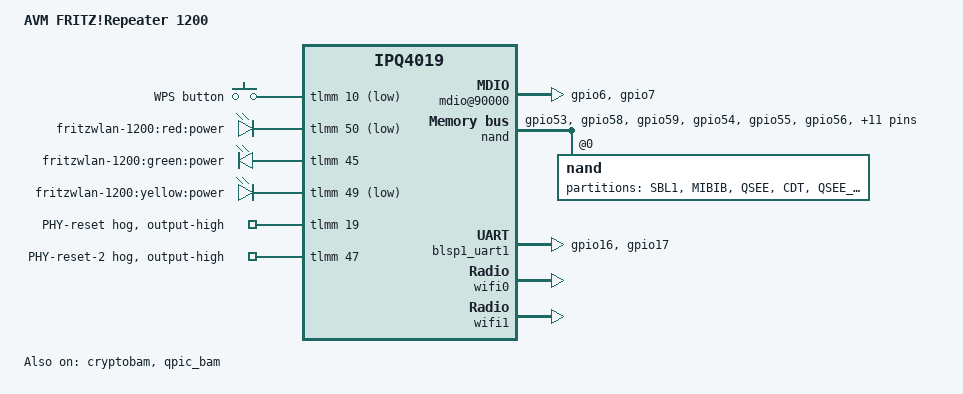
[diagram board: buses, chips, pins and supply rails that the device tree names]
// SPDX-License-Identifier: GPL-2.0-or-later OR MIT

#include "qcom-ipq4019.dtsi"
#include <dt-bindings/gpio/gpio.h>
#include <dt-bindings/input/input.h>
#include <dt-bindings/soc/qcom,tcsr.h>

/ {
	model = "AVM FRITZ!Repeater 1200";
	compatible = "avm,fritzrepeater-1200";

	aliases {
		led-boot = &power_green;
		led-failsafe = &power_red;
		led-running = &power_green;
		led-upgrade = &power_red;
		label-mac-device = &wifi0;
	};

	soc {
		rng@22000 {
			status = "okay";
		};

		mdio@90000 {
			status = "okay";
			pinctrl-0 = <&mdio_pins>;
			pinctrl-names = "default";
		};

		tcsr@1949000 {
			compatible = "qcom,tcsr";
			reg = <0x1949000 0x100>;
			qcom,wifi_glb_cfg = <TCSR_WIFI_GLB_CFG>;
		};

		ess_tcsr@1953000 {
			compatible = "qcom,tcsr";
			reg = <0x1953000 0x1000>;
			qcom,ess-interface-select = <TCSR_ESS_PSGMII_RGMII5>;
		};

		tcsr@1957000 {
			compatible = "qcom,tcsr";
			reg = <0x1957000 0x100>;
			qcom,wifi_noc_memtype_m0_m2 = <TCSR_WIFI_NOC_MEMTYPE_M0_M2>;
		};

		crypto@8e3a000 {
			status = "okay";
		};

		watchdog@b017000 {
			status = "okay";
		};

		ess-switch@c000000 {
			switch_mac_mode = <0x3>; /* mac mode for RGMII RMII */
			switch_lan_bmp = <0x0>; /* lan port bitmap */
			switch_wan_bmp = <0x10>; /* wan port bitmap */
		};

		edma@c080000 {
			status = "okay";
			phy-mode = "rgmii-rxid";
			qcom,num_gmac = <1>;
			qcom,single-phy;
		};
	};

	key {
		compatible = "gpio-keys";

		wps {
			label = "WPS button";
			gpios = <&tlmm 10 GPIO_ACTIVE_LOW>;
			linux,code = <KEY_WPS_BUTTON>;
		};
	};

	leds {
		compatible = "gpio-leds";

		power_red: power_red {
			label = "fritzwlan-1200:red:power";
			gpios = <&tlmm 50 GPIO_ACTIVE_LOW>;
		};

		power_green: power_green {
			label = "fritzwlan-1200:green:power";
			gpios = <&tlmm 45 GPIO_ACTIVE_HIGH>;
		};

		power_yellow {
			label = "fritzwlan-1200:yellow:power";
			gpios = <&tlmm 49 GPIO_ACTIVE_LOW>;
		};
	};
};

&tlmm {
	serial_0_pins: serial_pinmux {
		mux {
			pins = "gpio16", "gpio17";
			function = "blsp_uart0";
			bias-disable;
		};
	};

	nand_pins: nand_pins {
		pullups {
			pins = "gpio53", "gpio58", "gpio59";
			function = "qpic";
			bias-pull-up;
		};

		pulldowns {
			pins = "gpio54", "gpio55", "gpio56",
				"gpio57", "gpio60", "gpio61",
				"gpio62", "gpio63", "gpio64",
				"gpio65", "gpio66", "gpio67",
				"gpio68", "gpio69";
			function = "qpic";
			bias-pull-down;
		};
	};

	mdio_pins: mdio_pinmux {
		mux_1 {
			pins = "gpio6";
			function = "mdio";
			bias-pull-up;
		};
		mux_2 {
			pins = "gpio7";
			function = "mdc";
			bias-pull-up;
		};
	};

	phy-reset {
		line-name = "PHY-reset";
		gpios = <19 GPIO_ACTIVE_HIGH>;
		gpio-hog;
		output-high;
	};

	phy-reset-2 {
		line-name = "PHY-reset-2";
		gpios = <47 GPIO_ACTIVE_HIGH>;
		gpio-hog;
		output-high;
	};
};

&nand {
	pinctrl-0 = <&nand_pins>;
	pinctrl-names = "default";
	status = "okay";

	nand@0 {
		partitions {
			compatible = "fixed-partitions";
			#address-cells = <1>;
			#size-cells = <1>;

			partition@0 {
				label = "SBL1";
				reg = <0x0 0x80000>;
				read-only;
			};

			partition@80000 {
				label = "MIBIB";
				reg = <0x80000 0x80000>;
				read-only;
			};

			partition@100000 {
				label = "QSEE";
				reg = <0x100000 0x80000>;
				read-only;
			};

			partition@180000 {
				label = "CDT";
				reg = <0x180000 0x40000>;
				read-only;
			};

			partition@1c0000 {
				label = "QSEE_B";
				reg = <0x1c0000 0x80000>;
				read-only;
			};

			partition@240000 {
				label = "urlader0";
				reg = <0x240000 0x40000>;
				read-only;
			};

			partition@280000 {
				label = "urlader1";
				reg = <0x280000 0x40000>;
				read-only;
			};

			partition@2c0000 {
				label = "nand-tffs";
				reg = <0x2c0000 0x840000>;
				read-only;
			};

			partition@b00000 {
				/* 'kernel1' in AVM firmware */
				label = "uboot0";
				reg = <0xb00000 0x400000>;
			};

			partition@f00000 {
				/* 'kernel2' in AVM firmware */
				label = "uboot1";
				reg = <0xf00000 0x400000>;
			};

			partition@1300000 {
				label = "ubi";
				reg = <0x1300000 0x6d00000>;
			};
		};
	};
};

&cryptobam {
	status = "okay";
};

&blsp_dma {
	status = "okay";
};

&blsp1_uart1 {
	pinctrl-0 = <&serial_0_pins>;
	pinctrl-names = "default";
	status = "okay";
};

&qpic_bam {
	status = "okay";
};

&wifi0 {
	status = "okay";
	qcom,ath10k-calibration-variant = "AVM-FRITZRepeater-1200";
};

&wifi1 {
	status = "okay";
	qcom,ath10k-calibration-variant = "AVM-FRITZRepeater-1200";
};

&gmac0 {
	qcom,phy_mdio_addr = <0>;
	qcom,poll_required = <1>;
	vlan_tag = <0 0x20>;
};
